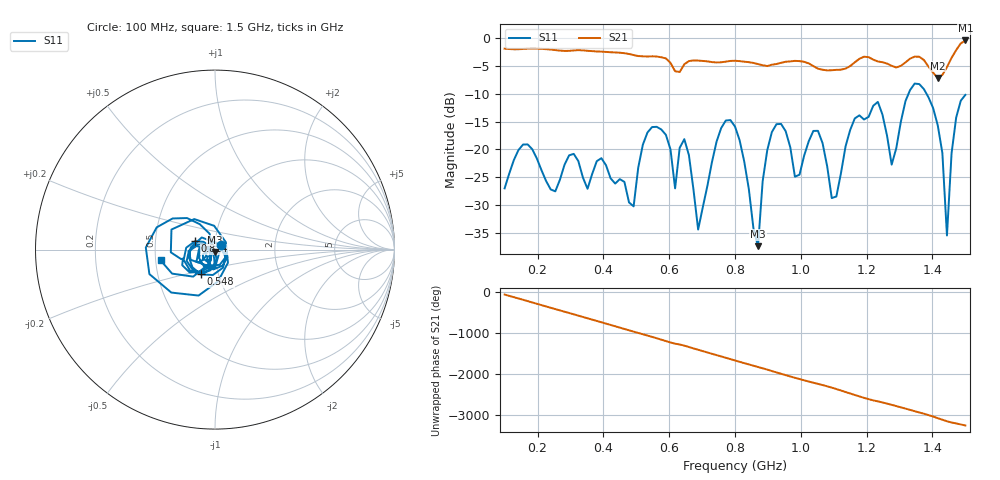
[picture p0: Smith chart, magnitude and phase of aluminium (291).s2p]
! NanoVNA-App
! Date: 2025-09-25 14:57:32
! Start: 100MHz Stop: 1,5GHz Points: 101
! S-Parameter data: F S11 S21 S12 S22
# Hz S RI R 50
!  Frequency  S11_Real  S11_Imag  S21_Real  S21_Imag  S12_Real  S12_Imag  S22_Real  S22_Imag
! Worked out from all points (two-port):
!   101 points, 100 MHz to 1.5 GHz, reference 50 ohm
!   highest |S21| = -0.45 dB at 1.5 GHz (marker M1); lowest = -7.2 dB at 1.416 GHz (marker M2)
!   |S21| within 3 dB of the highest: start of sweep to 574.4 MHz; 1.459 GHz to end of sweep (the widest 2 of 4)
!   lowest |S11| = -37.3 dB at 870 MHz (marker M3), VSWR 1.03, Z = 49.9 - j1.35 ohm
!   |S11| at or under -10 dB: start of sweep to 1.327 GHz; 1.382 GHz to end of sweep
!   S12 and S22 are empty: the file has one direction only
!   S11 on the Smith chart (normalised r, x): 100 MHz: 1.07, +0.06; 548 MHz: 0.82, -0.23; 814 MHz: 0.80, +0.07; 1.5 GHz: 0.53, -0.07
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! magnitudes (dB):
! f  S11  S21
! 100 MHz  -27.0  -1.9
! 338 MHz  -25.0  -2.2
! 492 MHz  -30.2  -3.1
! 548 MHz  -16.0  -3.3
! 576 MHz  -16.4  -3.5
! 618 MHz  -27.0  -6.0
! 646 MHz  -18.1  -4.7
! 688 MHz  -34.4  -4.1
! 800 MHz  -15.9  -4.1
! 814 MHz  -18.3  -4.2
! 870 MHz  -37.3  -4.7
! 912 MHz  -16.9  -4.8
! 982 MHz  -24.9  -4.1
! 1.038 GHz  -16.7  -5.0
! 1.094 GHz  -28.7  -5.8
! 1.234 GHz  -11.5  -4.2
! 1.276 GHz  -22.7  -5.0
! 1.346 GHz  -8.2  -3.4
! 1.416 GHz  -15.7  -7.2
! 1.444 GHz  -35.4  -5.2
! 1.472 GHz  -14.3  -2.2
! 1.5 GHz  -10.2  -0.5
